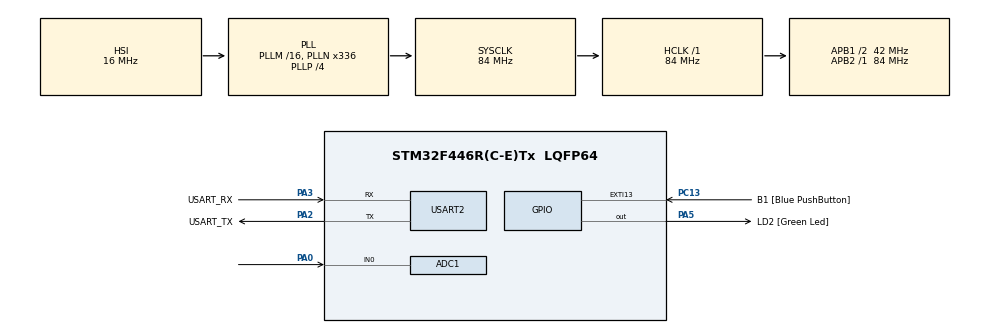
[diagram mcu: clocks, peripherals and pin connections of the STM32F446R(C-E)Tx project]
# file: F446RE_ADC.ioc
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ADC1.Channel-0\#ChannelRegularConversion=ADC_CHANNEL_0
ADC1.NbrOfConversionFlag=1
ADC1.Rank-0\#ChannelRegularConversion=1
ADC1.SamplingTime-0\#ChannelRegularConversion=ADC_SAMPLETIME_3CYCLES
ADC1.master=1
Mcu.Family=STM32F4
Mcu.Name=STM32F446R(C-E)Tx
Mcu.Package=LQFP64
NVIC.PriorityGroup=NVIC_PRIORITYGROUP_0
PA0-WKUP.Signal=ADCx_IN0
PA13.GPIO_Label=TMS
PA13.Mode=Serial_Wire
PA13.Signal=SYS_JTMS-SWDIO
PA14.GPIO_Label=TCK
PA14.Mode=Serial_Wire
PA14.Signal=SYS_JTCK-SWCLK
PA2.GPIO_Label=USART_TX
PA2.Mode=Asynchronous
PA2.Signal=USART2_TX
PA3.GPIO_Label=USART_RX
PA3.Mode=Asynchronous
PA3.Signal=USART2_RX
PA5.GPIO_Label=LD2 [Green Led]
PA5.Signal=GPIO_Output
PB3.GPIO_Label=SWO
PB3.Signal=SYS_JTDO-SWO
PC13.GPIO_Label=B1 [Blue PushButton]
PC13.GPIO_ModeDefaultEXTI=GPIO_MODE_IT_FALLING
PC13.Signal=GPXTI13
PC14-OSC32_IN.Mode=LSE-External-Oscillator
PC14-OSC32_IN.Signal=RCC_OSC32_IN
PC15-OSC32_OUT.Mode=LSE-External-Oscillator
PC15-OSC32_OUT.Signal=RCC_OSC32_OUT
PH0-OSC_IN.Mode=HSE-External-Oscillator
PH0-OSC_IN.Signal=RCC_OSC_IN
PH1-OSC_OUT.Mode=HSE-External-Oscillator
PH1-OSC_OUT.Signal=RCC_OSC_OUT
ProjectManager.HeapSize=0x200
ProjectManager.StackSize=0x400
ProjectManager.TargetToolchain=STM32CubeIDE
RCC.48MHZClocksFreq_Value=84000000
RCC.AHBFreq_Value=84000000
RCC.APB1CLKDivider=RCC_HCLK_DIV2
RCC.APB1Freq_Value=42000000
RCC.APB1TimFreq_Value=84000000
RCC.APB2Freq_Value=84000000
RCC.APB2TimFreq_Value=84000000
RCC.CortexFreq_Value=84000000
RCC.FLatency-AdvancedSettings=FLASH_LATENCY_2
RCC.HCLKFreq_Value=84000000
RCC.HSE_VALUE=8000000
RCC.HSI_VALUE=16000000
RCC.PLLN=336
RCC.PLLP=RCC_PLLP_DIV4
RCC.SYSCLKFreq_VALUE=84000000
RCC.SYSCLKSource=RCC_SYSCLKSOURCE_PLLCLK
RCC.USBFreq_Value=168000000
RCC.VCOOutputFreq_Value=336000000
SH.ADCx_IN0.0=ADC1_IN0,IN0
USART2.VirtualMode=VM_ASYNC
board=NUCLEO-F446RE

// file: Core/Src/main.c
/* USER CODE BEGIN Header */
/**
  ******************************************************************************
  * @file           : main.c
  * @brief          : Main program body
  ******************************************************************************
  * @attention
  *
  * Copyright (c) 2026 STMicroelectronics.
  * All rights reserved.
  *
  * This software is licensed under terms that can be found in the LICENSE file
  * in the root directory of this software component.
  * If no LICENSE file comes with this software, it is provided AS-IS.
  *
  ******************************************************************************
  */
/* USER CODE END Header */
#include "main.h"

/* USER CODE BEGIN Includes */
#include <stdio.h>
#include <string.h> // 新增這行，以支援 strlen 函數
/* USER CODE END Includes */

ADC_HandleTypeDef hadc1;

UART_HandleTypeDef huart2;

/* USER CODE BEGIN PV */
uint32_t adc_raw_val = 0;     // 用於存放 ADC 採樣到的 12-bit 原始數值
float sensor_voltage = 0.0f;  // 用於存放經分壓電路還原後的感測器輸出電壓 (V)
/* USER CODE END PV */

void SystemClock_Config(void);
static void MX_GPIO_Init(void);
static void MX_USART2_UART_Init(void);
static void MX_ADC1_Init(void);
/* USER CODE BEGIN PFP */
float Read_Keyes_Pressure_PA1(void);
/* USER CODE END PFP */

/* USER CODE BEGIN 0 */
#ifdef __GNUC__
/* 針對 GCC 編譯器重定向 __io_putchar 到 UART 暫存器 */
#define PUTCHAR_PROTOTYPE int __io_putchar(int ch)
#else
#define PUTCHAR_PROTOTYPE int fputc(int ch, FILE *f)
#endif

PUTCHAR_PROTOTYPE
{
  /* 透過硬體 USART2 傳送一個字元，設定超時時間為最大值 */
  HAL_UART_Transmit(&huart2, (uint8_t *)&ch, 1, HAL_MAX_DELAY);
  return ch;
}

/* 重定向標準寫入函數，確保 printf 能流暢輸出字串與浮點數 */
int _write(int file, char *ptr, int len)
{
  HAL_UART_Transmit(&huart2, (uint8_t *)ptr, len, HAL_MAX_DELAY);
  return len;
}
/* USER CODE END 0 */

int main(void)
{

  /* MCU Configuration--------------------------------------------------------*/

  /* Reset of all peripherals, Initializes the Flash interface and the Systick. */
  HAL_Init();

  /* Configure the system clock */
  SystemClock_Config();

  /* Initialize all configured peripherals */
  MX_GPIO_Init();
  MX_USART2_UART_Init();
  MX_ADC1_Init();

  /* Infinite loop */
  /* USER CODE BEGIN WHILE */
  while (1)
  {
	  /* 1. 宣告字元陣列，作為資料傳輸的緩衝區 */
	      char tx_buffer[100];

	      /* 2. 呼叫您寫好的函數，取得電壓值與 ADC 原始值 */
	      sensor_voltage = Read_Keyes_Pressure_PA1();

	      /* 3. 將數值格式化寫入緩衝區 (工程實證上最安全的字串處理方式) */
	      // %lu 對應 uint32_t 的 adc_raw_val，%.3f 對應 float 的 sensor_voltage
	      sprintf(tx_buffer, "[Keyes Sensor] RAW Value: %lu | Voltage: %.3f V\r\n", adc_raw_val, sensor_voltage);

	      /* 4. 透過正確的 USART2 通道，將緩衝區的資料發送至電腦 COM 埠 */
	      HAL_UART_Transmit(&huart2, (uint8_t*)tx_buffer, strlen(tx_buffer), HAL_MAX_DELAY);

	      /* 5. 延遲 250 毫秒 (一秒取樣四次)，避免傳輸過快導致終端機當機 */
	      HAL_Delay(250);
    /* USER CODE END WHILE */

  }
}

void SystemClock_Config(void)
{
  RCC_OscInitTypeDef RCC_OscInitStruct = {0};
  RCC_ClkInitTypeDef RCC_ClkInitStruct = {0};

  /** Configure the main internal regulator output voltage
  */
  __HAL_RCC_PWR_CLK_ENABLE();
  __HAL_PWR_VOLTAGESCALING_CONFIG(PWR_REGULATOR_VOLTAGE_SCALE3);

  /** Initializes the RCC Oscillators according to the specified parameters
  * in the RCC_OscInitTypeDef structure.
  */
  RCC_OscInitStruct.OscillatorType = RCC_OSCILLATORTYPE_HSI;
  RCC_OscInitStruct.HSIState = RCC_HSI_ON;
  RCC_OscInitStruct.HSICalibrationValue = RCC_HSICALIBRATION_DEFAULT;
  RCC_OscInitStruct.PLL.PLLState = RCC_PLL_ON;
  RCC_OscInitStruct.PLL.PLLSource = RCC_PLLSOURCE_HSI;
  RCC_OscInitStruct.PLL.PLLM = 16;
  RCC_OscInitStruct.PLL.PLLN = 336;
  RCC_OscInitStruct.PLL.PLLP = RCC_PLLP_DIV4;
  RCC_OscInitStruct.PLL.PLLQ = 2;
  RCC_OscInitStruct.PLL.PLLR = 2;
  if (HAL_RCC_OscConfig(&RCC_OscInitStruct) != HAL_OK)
  {
    Error_Handler();
  }

  /** Initializes the CPU, AHB and APB buses clocks
  */
  RCC_ClkInitStruct.ClockType = RCC_CLOCKTYPE_HCLK|RCC_CLOCKTYPE_SYSCLK
                              |RCC_CLOCKTYPE_PCLK1|RCC_CLOCKTYPE_PCLK2;
  RCC_ClkInitStruct.SYSCLKSource = RCC_SYSCLKSOURCE_PLLCLK;
  RCC_ClkInitStruct.AHBCLKDivider = RCC_SYSCLK_DIV1;
  RCC_ClkInitStruct.APB1CLKDivider = RCC_HCLK_DIV2;
  RCC_ClkInitStruct.APB2CLKDivider = RCC_HCLK_DIV1;

  if (HAL_RCC_ClockConfig(&RCC_ClkInitStruct, FLASH_LATENCY_2) != HAL_OK)
  {
    Error_Handler();
  }
}

static void MX_ADC1_Init(void)
{

  ADC_ChannelConfTypeDef sConfig = {0};

  /** Configure the global features of the ADC (Clock, Resolution, Data Alignment and number of conversion)
  */
  hadc1.Instance = ADC1;
  hadc1.Init.ClockPrescaler = ADC_CLOCK_SYNC_PCLK_DIV4;
  hadc1.Init.Resolution = ADC_RESOLUTION_12B;
  hadc1.Init.ScanConvMode = DISABLE;
  hadc1.Init.ContinuousConvMode = DISABLE;
  hadc1.Init.DiscontinuousConvMode = DISABLE;
  hadc1.Init.ExternalTrigConvEdge = ADC_EXTERNALTRIGCONVEDGE_NONE;
  hadc1.Init.ExternalTrigConv = ADC_SOFTWARE_START;
  hadc1.Init.DataAlign = ADC_DATAALIGN_RIGHT;
  hadc1.Init.NbrOfConversion = 1;
  hadc1.Init.DMAContinuousRequests = DISABLE;
  hadc1.Init.EOCSelection = ADC_EOC_SINGLE_CONV;
  if (HAL_ADC_Init(&hadc1) != HAL_OK)
  {
    Error_Handler();
  }

  /** Configure for the selected ADC regular channel its corresponding rank in the sequencer and its sample time.
  */
  sConfig.Channel = ADC_CHANNEL_0;
  sConfig.Rank = 1;
  sConfig.SamplingTime = ADC_SAMPLETIME_3CYCLES;
  if (HAL_ADC_ConfigChannel(&hadc1, &sConfig) != HAL_OK)
  {
    Error_Handler();
  }

}

static void MX_USART2_UART_Init(void)
{

  huart2.Instance = USART2;
  huart2.Init.BaudRate = 115200;
  huart2.Init.WordLength = UART_WORDLENGTH_8B;
  huart2.Init.StopBits = UART_STOPBITS_1;
  huart2.Init.Parity = UART_PARITY_NONE;
  huart2.Init.Mode = UART_MODE_TX_RX;
  huart2.Init.HwFlowCtl = UART_HWCONTROL_NONE;
  huart2.Init.OverSampling = UART_OVERSAMPLING_16;
  if (HAL_UART_Init(&huart2) != HAL_OK)
  {
    Error_Handler();
  }

}

static void MX_GPIO_Init(void)
{
  GPIO_InitTypeDef GPIO_InitStruct = {0};

  /* GPIO Ports Clock Enable */
  __HAL_RCC_GPIOC_CLK_ENABLE();
  __HAL_RCC_GPIOH_CLK_ENABLE();
  __HAL_RCC_GPIOA_CLK_ENABLE();
  __HAL_RCC_GPIOB_CLK_ENABLE();

  /*Configure GPIO pin Output Level */
  HAL_GPIO_WritePin(LD2_GPIO_Port, LD2_Pin, GPIO_PIN_RESET);

  /*Configure GPIO pin : B1_Pin */
  GPIO_InitStruct.Pin = B1_Pin;
  GPIO_InitStruct.Mode = GPIO_MODE_IT_FALLING;
  GPIO_InitStruct.Pull = GPIO_NOPULL;
  HAL_GPIO_Init(B1_GPIO_Port, &GPIO_InitStruct);

  /*Configure GPIO pin : LD2_Pin */
  GPIO_InitStruct.Pin = LD2_Pin;
  GPIO_InitStruct.Mode = GPIO_MODE_OUTPUT_PP;
  GPIO_InitStruct.Pull = GPIO_NOPULL;
  GPIO_InitStruct.Speed = GPIO_SPEED_FREQ_LOW;
  HAL_GPIO_Init(LD2_GPIO_Port, &GPIO_InitStruct);

}

/* USER CODE BEGIN 4 */
float Read_Keyes_Pressure_PA1(void)
{
  uint32_t raw_data = 0;
  float calculated_vol = 0.0f;

  if (HAL_ADC_Start(&hadc1) == HAL_OK)
  {
    if (HAL_ADC_PollForConversion(&hadc1, 10) == HAL_OK)
    {
      raw_data = HAL_ADC_GetValue(&hadc1);
      adc_raw_val = raw_data; // 同步寫入全域變數

      // 數值轉換計算
      calculated_vol = ((float)raw_data / 4095.0f) * 1.8f * 2.0f;
    }
    HAL_ADC_Stop(&hadc1);
  }

  return calculated_vol;
}
/* USER CODE END 4 */

void Error_Handler(void)
{
  __disable_irq();
  while (1)
  {
  }
}
